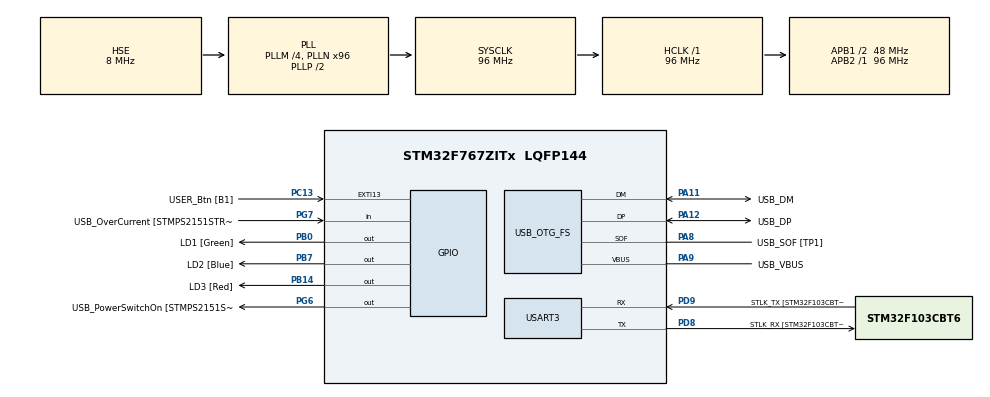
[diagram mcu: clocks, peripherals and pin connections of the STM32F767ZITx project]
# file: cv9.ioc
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Mcu.Family=STM32F7
Mcu.Name=STM32F767ZITx
Mcu.Package=LQFP144
NVIC.OTG_FS_IRQn=true\:0\:0\:false\:false\:true\:false\:true\:true
NVIC.PriorityGroup=NVIC_PRIORITYGROUP_4
PA1.GPIO_Label=RMII_REF_CLK [LAN8742A-CZ-TR_REFCLK0]
PA1.Signal=ETH_REF_CLK
PA10.GPIO_Label=USB_ID
PA10.Signal=USB_OTG_FS_ID
PA11.GPIO_Label=USB_DM
PA11.Mode=Device_Only
PA11.Signal=USB_OTG_FS_DM
PA12.GPIO_Label=USB_DP
PA12.Mode=Device_Only
PA12.Signal=USB_OTG_FS_DP
PA13.GPIO_Label=TMS
PA13.Mode=Serial_Wire
PA13.Signal=SYS_JTMS-SWDIO
PA14.GPIO_Label=TCK
PA14.Mode=Serial_Wire
PA14.Signal=SYS_JTCK-SWCLK
PA2.GPIO_Label=RMII_MDIO [LAN8742A-CZ-TR_MDIO]
PA2.Signal=ETH_MDIO
PA7.GPIO_Label=RMII_CRS_DV [LAN8742A-CZ-TR_CRS_DV]
PA7.Signal=ETH_CRS_DV
PA8.GPIO_Label=USB_SOF [TP1]
PA8.Mode=Activate_SOF_FS
PA8.Signal=USB_OTG_FS_SOF
PA9.GPIO_Label=USB_VBUS
PA9.Mode=Activate_VBUS
PA9.Signal=USB_OTG_FS_VBUS
PB0.GPIO_Label=LD1 [Green]
PB0.Signal=GPIO_Output
PB13.GPIO_Label=RMII_TXD1 [LAN8742A-CZ-TR_TXD1]
PB13.Signal=ETH_TXD1
PB14.GPIO_Label=LD3 [Red]
PB14.Signal=GPIO_Output
PB3.GPIO_Label=SWO
PB3.Signal=SYS_JTDO-SWO
PB7.GPIO_Label=LD2 [Blue]
PB7.Signal=GPIO_Output
PC1.GPIO_Label=RMII_MDC [LAN8742A-CZ-TR_MDC]
PC1.Signal=ETH_MDC
PC13.GPIO_Label=USER_Btn [B1]
PC13.Signal=GPXTI13
PC14/OSC32_IN.Mode=LSE-External-Oscillator
PC14/OSC32_IN.Signal=RCC_OSC32_IN
PC15/OSC32_OUT.Mode=LSE-External-Oscillator
PC15/OSC32_OUT.Signal=RCC_OSC32_OUT
PC4.GPIO_Label=RMII_RXD0 [LAN8742A-CZ-TR_RXD0]
PC4.Signal=ETH_RXD0
PC5.GPIO_Label=RMII_RXD1 [LAN8742A-CZ-TR_RXD1]
PC5.Signal=ETH_RXD1
PD8.GPIO_Label=STLK_RX [STM32F103CBT6_PA3]
PD8.Mode=Asynchronous
PD8.Signal=USART3_TX
PD9.GPIO_Label=STLK_TX [STM32F103CBT6_PA2]
PD9.Mode=Asynchronous
PD9.Signal=USART3_RX
PG11.GPIO_Label=RMII_TX_EN [LAN8742A-CZ-TR_TXEN]
PG11.Signal=ETH_TX_EN
PG13.GPIO_Label=RMII_TXD0 [LAN8742A-CZ-TR_TXD0]
PG13.Signal=ETH_TXD0
PG6.GPIO_Label=USB_PowerSwitchOn [STMPS2151STR_EN]
PG6.Signal=GPIO_Output
PG7.GPIO_Label=USB_OverCurrent [STMPS2151STR_FAULT]
PG7.Signal=GPIO_Input
PH0/OSC_IN.GPIO_Label=MCO [STM32F103CBT6_PA8]
PH0/OSC_IN.Mode=HSE-External-Clock-Source
PH0/OSC_IN.Signal=RCC_OSC_IN
PH1/OSC_OUT.Mode=HSE-External-Clock-Source
PH1/OSC_OUT.Signal=RCC_OSC_OUT
ProjectManager.HeapSize=0x200
ProjectManager.StackSize=0x400
ProjectManager.TargetToolchain=STM32CubeIDE
RCC.48MHZClocksFreq_Value=24000000
RCC.AHBFreq_Value=96000000
RCC.APB1CLKDivider=RCC_HCLK_DIV2
RCC.APB1Freq_Value=48000000
RCC.APB1TimFreq_Value=96000000
RCC.APB2Freq_Value=96000000
RCC.APB2TimFreq_Value=96000000
RCC.CortexFreq_Value=96000000
RCC.HCLKFreq_Value=96000000
RCC.HSE_VALUE=8000000
RCC.HSI_VALUE=16000000
RCC.PLLM=4
RCC.PLLMUL=RCC_PLL_MUL9
RCC.PLLN=96
RCC.PLLQ=4
RCC.PRESCALERUSB=RCC_USBCLKSOURCE_PLL_DIV1_5
RCC.SYSCLKFreq_VALUE=96000000
RCC.SYSCLKSource=RCC_SYSCLKSOURCE_PLLCLK
RCC.SYSCLKSourceVirtual=RCC_SYSCLKSOURCE_PLLCLK
RCC.USBFreq_Value=48000000
RCC.VCOOutputFreq_Value=192000000
USART3.VirtualMode-Asynchronous=VM_ASYNC
USB_DEVICE.CLASS_NAME_FS=HID
USB_DEVICE.VirtualMode-HID_FS=Hid
USB_DEVICE.VirtualModeFS=Hid_FS
USB_OTG_FS.VirtualMode=Device_Only
VP_USB_DEVICE_VS_USB_DEVICE_HID_FS.Mode=HID_FS
board=NUCLEO-F767ZI

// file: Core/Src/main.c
/* USER CODE BEGIN Header */
/**
  ******************************************************************************
  * @file           : main.c
  * @brief          : Main program body
  ******************************************************************************
  * @attention
  *
  * Copyright (c) 2023 STMicroelectronics.
  * All rights reserved.
  *
  * This software is licensed under terms that can be found in the LICENSE file
  * in the root directory of this software component.
  * If no LICENSE file comes with this software, it is provided AS-IS.
  *
  ******************************************************************************
  */
/* USER CODE END Header */
#include "main.h"
#include "usb_device.h"

/* USER CODE BEGIN Includes */
#include <usbd_hid.h>
#include <math.h>
/* USER CODE END Includes */

UART_HandleTypeDef huart3;

/* USER CODE BEGIN PV */
extern USBD_HandleTypeDef hUsbDeviceFS;
/* USER CODE END PV */

void SystemClock_Config(void);
static void MX_GPIO_Init(void);
static void MX_USART3_UART_Init(void);

/* USER CODE BEGIN 0 */
void step(int8_t x, int8_t y, uint8_t btn)
{
	uint8_t buff[4];
	buff[0] = btn; // leve tlacitko (0x01 alebo 0x00)
	buff[1] = (int8_t)(x); // posun X
	buff[2] = (int8_t)(y); // posun Y
	buff[3] = 0; // bez scrollu
	USBD_HID_SendReport(&hUsbDeviceFS, buff, sizeof(buff));
	HAL_Delay(USBD_HID_GetPollingInterval(&hUsbDeviceFS));
}

void circle_adv(int8_t radius, float start_progress, float end_progress, float scale_x, float scale_y)
{
  const uint8_t parts = 50;
  const float full_circle = 2.0f * M_PI;
  const float delta_angle = full_circle / (float)parts;
  int8_t x, y;
  int8_t delta_x, delta_y;
  int8_t prev_x, prev_y;
  uint8_t start_index, end_index;
  float angle;
  prev_x = radius;
  prev_y = 0;

  start_index = round(start_progress * parts);
  end_index = round(end_progress * parts) + 1;

  if (start_index > 0) {
    angle = delta_angle * (start_index - 1);
    prev_x = (radius * cosf(angle)) * scale_x;
    prev_y = (radius * sinf(angle)) * scale_y;
  }

  step(0, 0, 1);

  for (uint8_t i = start_index; i < end_index; i++) {
    angle = delta_angle * i;
    x = (radius * cosf(angle)) * scale_x;
    y = (radius * sinf(angle)) * scale_y;
    delta_x = x - prev_x;
    delta_y = y - prev_y;
    step(delta_x, delta_y, 1);

    prev_x = x;
    prev_y = y;
  }

  step(0, 0, 0);
}

void circle(int8_t radius)
{
  circle_adv(radius, 0.0f, 1.0f, 1.0f, 1.0f);
}
/* USER CODE END 0 */

int main(void)
{

  /* MCU Configuration--------------------------------------------------------*/

  /* Reset of all peripherals, Initializes the Flash interface and the Systick. */
  HAL_Init();

  /* Configure the system clock */
  SystemClock_Config();

  /* Initialize all configured peripherals */
  MX_GPIO_Init();
  MX_USART3_UART_Init();
  MX_USB_DEVICE_Init();
  /* USER CODE BEGIN 2 */
  HAL_Delay(3000);
  // head
  circle(100);
  // nose
  step(-65, 10, 0);
  step(0, 0, 1);
  step(0, -20, 1);
  step(0, 0, 0);
  // eyes
  step(-15, -10, 0);
  circle(30);
  step(15 + 15 + 30, 0, 0);
  circle(30);
  // smile
  step(10, 30, 0);
  circle_adv(70, (45.0f / 360.0f), (135.f / 360.0f), 1.4f, 1.0f);
  /* USER CODE END 2 */

  /* Infinite loop */
  while (1)
  {
  }
}

void SystemClock_Config(void)
{
  RCC_OscInitTypeDef RCC_OscInitStruct = {0};
  RCC_ClkInitTypeDef RCC_ClkInitStruct = {0};

  /** Configure LSE Drive Capability
  */
  HAL_PWR_EnableBkUpAccess();

  /** Configure the main internal regulator output voltage
  */
  __HAL_RCC_PWR_CLK_ENABLE();
  __HAL_PWR_VOLTAGESCALING_CONFIG(PWR_REGULATOR_VOLTAGE_SCALE3);

  /** Initializes the RCC Oscillators according to the specified parameters
  * in the RCC_OscInitTypeDef structure.
  */
  RCC_OscInitStruct.OscillatorType = RCC_OSCILLATORTYPE_HSE;
  RCC_OscInitStruct.HSEState = RCC_HSE_BYPASS;
  RCC_OscInitStruct.PLL.PLLState = RCC_PLL_ON;
  RCC_OscInitStruct.PLL.PLLSource = RCC_PLLSOURCE_HSE;
  RCC_OscInitStruct.PLL.PLLM = 4;
  RCC_OscInitStruct.PLL.PLLN = 96;
  RCC_OscInitStruct.PLL.PLLP = RCC_PLLP_DIV2;
  RCC_OscInitStruct.PLL.PLLQ = 4;
  RCC_OscInitStruct.PLL.PLLR = 2;
  if (HAL_RCC_OscConfig(&RCC_OscInitStruct) != HAL_OK)
  {
    Error_Handler();
  }

  /** Activate the Over-Drive mode
  */
  if (HAL_PWREx_EnableOverDrive() != HAL_OK)
  {
    Error_Handler();
  }

  /** Initializes the CPU, AHB and APB buses clocks
  */
  RCC_ClkInitStruct.ClockType = RCC_CLOCKTYPE_HCLK|RCC_CLOCKTYPE_SYSCLK
                              |RCC_CLOCKTYPE_PCLK1|RCC_CLOCKTYPE_PCLK2;
  RCC_ClkInitStruct.SYSCLKSource = RCC_SYSCLKSOURCE_PLLCLK;
  RCC_ClkInitStruct.AHBCLKDivider = RCC_SYSCLK_DIV1;
  RCC_ClkInitStruct.APB1CLKDivider = RCC_HCLK_DIV2;
  RCC_ClkInitStruct.APB2CLKDivider = RCC_HCLK_DIV1;

  if (HAL_RCC_ClockConfig(&RCC_ClkInitStruct, FLASH_LATENCY_3) != HAL_OK)
  {
    Error_Handler();
  }
}

static void MX_USART3_UART_Init(void)
{

  huart3.Instance = USART3;
  huart3.Init.BaudRate = 115200;
  huart3.Init.WordLength = UART_WORDLENGTH_8B;
  huart3.Init.StopBits = UART_STOPBITS_1;
  huart3.Init.Parity = UART_PARITY_NONE;
  huart3.Init.Mode = UART_MODE_TX_RX;
  huart3.Init.HwFlowCtl = UART_HWCONTROL_NONE;
  huart3.Init.OverSampling = UART_OVERSAMPLING_16;
  huart3.Init.OneBitSampling = UART_ONE_BIT_SAMPLE_DISABLE;
  huart3.AdvancedInit.AdvFeatureInit = UART_ADVFEATURE_NO_INIT;
  if (HAL_UART_Init(&huart3) != HAL_OK)
  {
    Error_Handler();
  }

}

static void MX_GPIO_Init(void)
{
  GPIO_InitTypeDef GPIO_InitStruct = {0};

  /* GPIO Ports Clock Enable */
  __HAL_RCC_GPIOC_CLK_ENABLE();
  __HAL_RCC_GPIOH_CLK_ENABLE();
  __HAL_RCC_GPIOA_CLK_ENABLE();
  __HAL_RCC_GPIOB_CLK_ENABLE();
  __HAL_RCC_GPIOD_CLK_ENABLE();
  __HAL_RCC_GPIOG_CLK_ENABLE();

  /*Configure GPIO pin Output Level */
  HAL_GPIO_WritePin(GPIOB, LD1_Pin|LD3_Pin|LD2_Pin, GPIO_PIN_RESET);

  /*Configure GPIO pin Output Level */
  HAL_GPIO_WritePin(USB_PowerSwitchOn_GPIO_Port, USB_PowerSwitchOn_Pin, GPIO_PIN_RESET);

  /*Configure GPIO pin : USER_Btn_Pin */
  GPIO_InitStruct.Pin = USER_Btn_Pin;
  GPIO_InitStruct.Mode = GPIO_MODE_IT_RISING;
  GPIO_InitStruct.Pull = GPIO_NOPULL;
  HAL_GPIO_Init(USER_Btn_GPIO_Port, &GPIO_InitStruct);

  /*Configure GPIO pins : RMII_MDC_Pin RMII_RXD0_Pin RMII_RXD1_Pin */
  GPIO_InitStruct.Pin = RMII_MDC_Pin|RMII_RXD0_Pin|RMII_RXD1_Pin;
  GPIO_InitStruct.Mode = GPIO_MODE_AF_PP;
  GPIO_InitStruct.Pull = GPIO_NOPULL;
  GPIO_InitStruct.Speed = GPIO_SPEED_FREQ_VERY_HIGH;
  GPIO_InitStruct.Alternate = GPIO_AF11_ETH;
  HAL_GPIO_Init(GPIOC, &GPIO_InitStruct);

  /*Configure GPIO pins : RMII_REF_CLK_Pin RMII_MDIO_Pin RMII_CRS_DV_Pin */
  GPIO_InitStruct.Pin = RMII_REF_CLK_Pin|RMII_MDIO_Pin|RMII_CRS_DV_Pin;
  GPIO_InitStruct.Mode = GPIO_MODE_AF_PP;
  GPIO_InitStruct.Pull = GPIO_NOPULL;
  GPIO_InitStruct.Speed = GPIO_SPEED_FREQ_VERY_HIGH;
  GPIO_InitStruct.Alternate = GPIO_AF11_ETH;
  HAL_GPIO_Init(GPIOA, &GPIO_InitStruct);

  /*Configure GPIO pins : LD1_Pin LD3_Pin LD2_Pin */
  GPIO_InitStruct.Pin = LD1_Pin|LD3_Pin|LD2_Pin;
  GPIO_InitStruct.Mode = GPIO_MODE_OUTPUT_PP;
  GPIO_InitStruct.Pull = GPIO_NOPULL;
  GPIO_InitStruct.Speed = GPIO_SPEED_FREQ_LOW;
  HAL_GPIO_Init(GPIOB, &GPIO_InitStruct);

  /*Configure GPIO pin : RMII_TXD1_Pin */
  GPIO_InitStruct.Pin = RMII_TXD1_Pin;
  GPIO_InitStruct.Mode = GPIO_MODE_AF_PP;
  GPIO_InitStruct.Pull = GPIO_NOPULL;
  GPIO_InitStruct.Speed = GPIO_SPEED_FREQ_VERY_HIGH;
  GPIO_InitStruct.Alternate = GPIO_AF11_ETH;
  HAL_GPIO_Init(RMII_TXD1_GPIO_Port, &GPIO_InitStruct);

  /*Configure GPIO pin : USB_PowerSwitchOn_Pin */
  GPIO_InitStruct.Pin = USB_PowerSwitchOn_Pin;
  GPIO_InitStruct.Mode = GPIO_MODE_OUTPUT_PP;
  GPIO_InitStruct.Pull = GPIO_NOPULL;
  GPIO_InitStruct.Speed = GPIO_SPEED_FREQ_LOW;
  HAL_GPIO_Init(USB_PowerSwitchOn_GPIO_Port, &GPIO_InitStruct);

  /*Configure GPIO pin : USB_OverCurrent_Pin */
  GPIO_InitStruct.Pin = USB_OverCurrent_Pin;
  GPIO_InitStruct.Mode = GPIO_MODE_INPUT;
  GPIO_InitStruct.Pull = GPIO_NOPULL;
  HAL_GPIO_Init(USB_OverCurrent_GPIO_Port, &GPIO_InitStruct);

  /*Configure GPIO pins : RMII_TX_EN_Pin RMII_TXD0_Pin */
  GPIO_InitStruct.Pin = RMII_TX_EN_Pin|RMII_TXD0_Pin;
  GPIO_InitStruct.Mode = GPIO_MODE_AF_PP;
  GPIO_InitStruct.Pull = GPIO_NOPULL;
  GPIO_InitStruct.Speed = GPIO_SPEED_FREQ_VERY_HIGH;
  GPIO_InitStruct.Alternate = GPIO_AF11_ETH;
  HAL_GPIO_Init(GPIOG, &GPIO_InitStruct);

}

void Error_Handler(void)
{
  __disable_irq();
  while (1)
  {
  }
}
